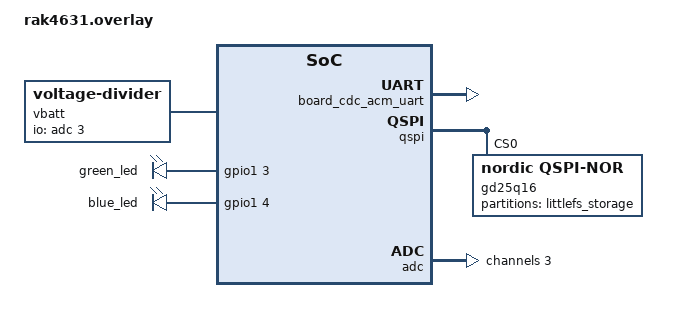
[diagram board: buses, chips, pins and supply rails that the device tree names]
/*
 * Devicetree overlay for the RAKwireless RAK4631 (rak4631/nrf52840), with a
 * RAK15001 WisBlock Flash module in the IO slot.
 *
 * Sixth board. Same silicon as the XIAO nRF52840 and the same chainloaded
 * Adafruit bootloader, so nothing in the application changes; what is here is
 * hardware plumbing plus three things the upstream board file does not do.
 *
 * ---- 1. The filesystem flash is not on the module ----------------------
 *
 * The RAK4631 core has no external flash at all. The 2 MB **GigaDevice
 * GD25Q16** lives on a RAK15001 in the WisBlock IO slot, and without one this
 * board is not an updater: firmware bundles are 300-500 KB each and flash0
 * has no room to spare once it holds two MCUboot slots. A board built without
 * the module fails at `LittleFS mounted` and says so at boot, which is the
 * right failure — it is a missing part, not a misconfiguration.
 *
 * The pins are already correct upstream and were not chosen here: Zephyr's
 * `rak4631_nrf52840-pinctrl.dtsi` routes QSPI to SCK P0.03, CSN P0.26, IO0
 * P0.30, IO1 P0.29, IO2 P0.28, IO3 P0.02 — the same six the previous Arduino
 * updater drove this exact module with. `&qspi` is already `okay` there too.
 * All that is missing is the flash node.
 *
 * **Single-lane on purpose.** Zephyr defaults `readoc`/`writeoc` to FAST_READ
 * (0x0B) and PP (0x02), which work whether or not the IO slot carries the two
 * quad lines to the module — and that is the one fact about this hardware not
 * settled from a source that could be read. The chip supports quad; the
 * previous implementation ran it in quad and worked, which is good evidence
 * the module wires all four. But this board is being added without one on the
 * desk, and the failure mode of guessing wrong is a filesystem that reads
 * garbage rather than one that reads slowly.
 *
 * Nothing here is waiting on that: at 16 MHz single-lane the bus does ~2 MB/s,
 * and the measured ceiling on the most-tuned board in this project is 830 KB/s
 * reading — set by littlefs's transaction count, not by the wire (see
 * common.dtsi's cache-size). If a run ever proves the quad lines are there,
 * `readoc = "read4o"; writeoc = "pp4o";` plus a real
 * `quad-enable-requirements` is the whole change.
 *
 * ---- 2. The LED polarity is wrong upstream ------------------------------
 *
 * `rak4631_nrf52840.dts` declares both LEDs `GPIO_ACTIVE_LOW`. Two
 * independent vendor sources say otherwise, and they agree with each other:
 * RAK's own Arduino variant (`LED_STATE_ON 1`) and the bootloader RAK ships
 * for this board (`src/boards/wiscore_rak4631_board/board.h`, also
 * `LED_STATE_ON 1`). So the pins source rather than sink and the polarity is
 * inverted here — the same fix, for the same reason, as the vendored nRF54L
 * board files (Trap 1b). Corrected in the overlay rather than in the board
 * files so that a Zephyr update cannot quietly undo it.
 *
 * ---- 3. Two LEDs, so the two-colour renderer ----------------------------
 *
 * There is no red LED on this board — green on P1.03 and blue on P1.04 — so it
 * supplies `green-led` and `blue-led` and led.c picks its two-colour renderer.
 * That keeps every state looking exactly as it does on the XIAO nRF52840:
 * blue slow-blinking is standby, blue fast is a client connected, green
 * blinking is a transfer in progress, green solid is done. Only DONE_FAIL has
 * to differ, and it lights both LEDs in a double flash rather than borrowing
 * green from the two success states either side of it.
 *
 * **This shipped once as `status-led` on the green pin**, which used led.c's
 * mono renderer and left the blue unclaimed. Nothing about it was ambiguous
 * and it was still the wrong call: the same firmware on two boards in the same
 * room said "idle" in two different colours. The XIAO's scheme is also the one
 * the Arduino updater used, so a person carrying both reads one vocabulary.
 *
 * Aliasing red-led to the green pin — the other way to fill an RGB shape — is
 * worse than either: `write_all(true,false,false)` for DONE_FAIL and
 * `write_all(false,true,false)` for DONE_OK would drive the *same* LED, and
 * the two states you read the LED to tell apart would render identically.
 *
 * ---- 4. The console is USB CDC -----------------------------------------
 *
 * The board file chooses `uart1` (P0.16/P0.15), which needs a USB-serial
 * adapter wired to the WisBlock base. The connector a person actually plugs
 * in goes to the nRF52840's native USB, so the console follows it — the same
 * arrangement as the XIAO nRF52840, and what the previous Arduino updater
 * used. It also makes `src/usb_dfu_touch.c` meaningful here: that file is
 * gated on `CONFIG_SOC_NRF52840 AND CONFIG_USBD_CDC_ACM_CLASS`, so on a
 * UART-console build it would silently not be compiled in.
 *
 * This is `boards/common/usb/cdc_acm_serial.dtsi` inlined rather than
 * included: that file is found relative to a *board* directory, which this
 * overlay is not in.
 */

#include "../common.dtsi"
#include "../rak4631_partitions.dtsi"

/ {
	chosen {
		/* The application lives in slot0; MCUboot's own image overrides
		 * this to boot_partition (sysbuild/mcuboot_rak4631.overlay).
		 * The board's default points at slot0_partition of a table this
		 * fragment deletes, so it has to be re-chosen either way. */
		zephyr,code-partition = &slot0_partition;

		zephyr,console = &board_cdc_acm_uart;
		zephyr,shell-uart = &board_cdc_acm_uart;
		zephyr,uart-mcumgr = &board_cdc_acm_uart;
		zephyr,bt-mon-uart = &board_cdc_acm_uart;
		zephyr,bt-c2h-uart = &board_cdc_acm_uart;
	};

	/* led.c asks by colour. Supplying green and blue but no red selects its
	 * two-colour renderer, which matches the XIAO's scheme everywhere it
	 * can — see the header. */
	aliases {
		green-led = &green_led;
		blue-led = &blue_led;
	};
};

&zephyr_udc0 {
	board_cdc_acm_uart: board_cdc_acm_uart {
		compatible = "zephyr,cdc-acm-uart";
	};
};

/* Polarity, not pin choice — see the header. */
&green_led {
	gpios = <&gpio1 3 GPIO_ACTIVE_HIGH>;
};

&blue_led {
	gpios = <&gpio1 4 GPIO_ACTIVE_HIGH>;
};

/*
 * The RAK15001's GD25Q16, as one LittleFS volume over the whole part.
 *
 * `jedec-id` is the chip's answer to 0x9F: GigaDevice 0xC8, type 0x40,
 * capacity 0x15. `size` is in **bits**, not bytes — 16777216 is 2 MiB, the
 * same value the XIAO's 2 MB P25Q16H carries.
 *
 * 2 MB is roughly four firmware bundles, a quarter of the nRF54L board's
 * 8 MB. Worth knowing before loading a library onto one.
 */
&qspi {
	gd25q16: gd25q16@0 {
		compatible = "nordic,qspi-nor";
		reg = <0>;
		sck-frequency = <16000000>;
		jedec-id = [c8 40 15];
		size = <16777216>;

		/* No quad mode is selected above, so there is no Quad Enable
		 * bit to set. Saying so is not the same as leaving it out: the
		 * property defaults to "S1B6", which would have the driver
		 * write a status register on a chip whose QE bit is somewhere
		 * else entirely (GD25Q16C keeps it in S2 bit 1). */
		quad-enable-requirements = "NONE";

		partitions {
			compatible = "fixed-partitions";
			#address-cells = <1>;
			#size-cells = <1>;

			lfs_partition: partition@0 {
				label = "littlefs_storage";
				reg = <0x00000000 DT_SIZE_M(2)>;
			};
		};
	};
};

#include <zephyr/dt-bindings/adc/adc.h>
#include <zephyr/dt-bindings/adc/nrf-saadc.h>

/*
 * ---- Battery ------------------------------------------------------------
 *
 * VBAT reaches P0.05 (AIN3) through a fixed divider — no enable pin, unlike
 * the XIAO, so it is always connected and there is nothing to gate. P0.05 is
 * unclaimed in this build.
 *
 * **The ratio below is the physical parts, 1.0M + 1.5M — measured, after a
 * first attempt that reasoned its way to the wrong number.**
 *
 * RAK's own example code is self-contradictory about this board: it states
 * `VBAT_DIVIDER (0.4F)` — "1.5M + 1M on VBAT" — and then applies a
 * compensation of 1.73, where a 0.4 divider needs 2.5. Only one can be right.
 *
 * The first version here took 1.73 as the survivor, on the grounds that it is
 * what MeshCore effectively uses on this exact board:
 *
 *     variants/rak4631/RAK4631Board.h
 *     #define ADC_MULTIPLIER (3 * 1.73 * 1.187 * 1000)     // 1.5040 mV/LSB
 *
 * and that the Adafruit/Seeed core defaults to a 3.6 V range rather than the
 * 3.0 that expression implies (`wiring_analog_nRF52.c`, AR_DEFAULT), which
 * makes their compensation 1.5040/0.87891 = 1.711.
 *
 * **On hardware that read 4314 mV against a multimeter's 4169** — 3.5% high.
 * The implied true ratio is 1.711 x 4169/4314 = 1.654, which is the
 * *comment's* 1.5M + 1M pair (1.667) and not the code's 1.73, to within 0.8%.
 * So the stale half was the constant, not the comment, and the reasoning that
 * picked it was wrong in a way no amount of further reading would have
 * settled: **two vendor numbers disagreed and only hardware could say which.**
 *
 * 1.667 is what is encoded, rather than the 1.654 the single measurement
 * implies exactly, because the 0.8% between them is smaller than the SAADC's
 * own untrimmed gain error (spec: +/-3%). Calibrating it away would bake one
 * chip's error into a constant every board shares. Expect roughly +33 mV at a
 * full cell; if that ever matters, `full-ohms` is the one line to change.
 *
 * Acquisition time is 40 us rather than the 10 us default for the same reason
 * as on the XIAO: ~630k of source impedance cannot charge the SAADC's
 * sampling capacitor in 10 us, and the failure is a low reading with nothing
 * to say why.
 *
 * No charge-status input: the charger sits on the WisBlock base board and
 * exposes nothing to the module, so battery.c reports "charging: unknown"
 * here rather than inventing an answer from the voltage.
 */
&adc {
	status = "okay";

	#address-cells = <1>;
	#size-cells = <0>;

	channel@3 {
		reg = <3>;
		zephyr,gain = "ADC_GAIN_1_5";
		zephyr,reference = "ADC_REF_INTERNAL";
		zephyr,acquisition-time = <ADC_ACQ_TIME(ADC_ACQ_TIME_MICROSECONDS, 40)>;
		zephyr,input-positive = <NRF_SAADC_AIN3>;
		zephyr,resolution = <12>;
	};
};

/ {
	vbatt: vbatt {
		compatible = "voltage-divider";
		io-channels = <&adc 3>;
		output-ohms = <1500000>;
		full-ohms = <2500000>;
	};

	aliases {
		battery-voltage = &vbatt;
	};
};
